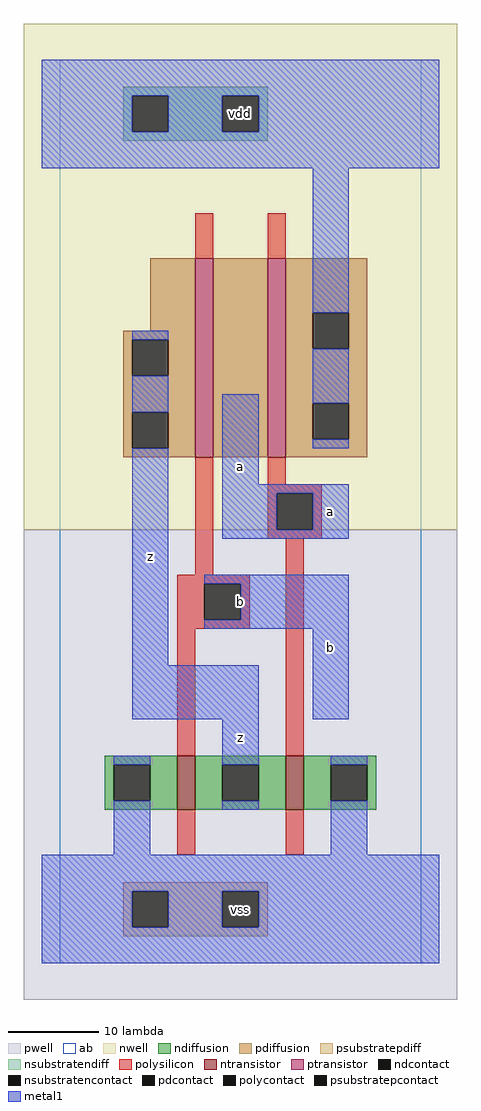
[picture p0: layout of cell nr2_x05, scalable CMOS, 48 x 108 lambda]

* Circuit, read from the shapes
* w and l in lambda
.subckt nr2_x05 a b vdd vss z
M1 z b vss vss nfet w=6 l=2
M2 vss a z vss nfet w=6 l=2
M3 n1 b z vdd pfet w=22 l=2
M4 vdd a n1 vdd pfet w=22 l=2
.ends

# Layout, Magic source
magic
tech scmos
<< ab >>
rect 0 0 40 100
<< pwell >>
rect -4 -4 44 48
<< nwell >>
rect -4 48 44 104
<< polysilicon >>
rect 15 78 17 83
rect 23 78 25 83
rect 15 43 17 56
rect 23 53 25 56
rect 23 52 29 53
rect 23 48 24 52
rect 28 48 29 52
rect 23 47 29 48
rect 13 42 21 43
rect 13 38 16 42
rect 20 38 21 42
rect 13 37 21 38
rect 13 23 15 37
rect 25 23 27 47
rect 13 12 15 17
rect 25 12 27 17
<< ndiffusion >>
rect 5 22 13 23
rect 5 18 6 22
rect 10 18 13 22
rect 5 17 13 18
rect 15 22 25 23
rect 15 18 18 22
rect 22 18 25 22
rect 15 17 25 18
rect 27 22 35 23
rect 27 18 30 22
rect 34 18 35 22
rect 27 17 35 18
<< pdiffusion >>
rect 10 70 15 78
rect 7 69 15 70
rect 7 65 8 69
rect 12 65 15 69
rect 7 61 15 65
rect 7 57 8 61
rect 12 57 15 61
rect 7 56 15 57
rect 17 56 23 78
rect 25 72 34 78
rect 25 68 28 72
rect 32 68 34 72
rect 25 62 34 68
rect 25 58 28 62
rect 32 58 34 62
rect 25 56 34 58
<< metal1 >>
rect -2 96 42 100
rect -2 92 8 96
rect 12 92 18 96
rect 22 92 42 96
rect -2 88 42 92
rect 28 72 32 88
rect 8 69 12 70
rect 8 61 12 65
rect 8 33 12 57
rect 18 53 22 63
rect 28 62 32 68
rect 28 57 32 58
rect 18 52 32 53
rect 18 48 24 52
rect 28 48 32 52
rect 18 47 32 48
rect 16 42 32 43
rect 20 38 32 42
rect 16 37 32 38
rect 8 27 22 33
rect 28 27 32 37
rect 6 22 10 23
rect 6 12 10 18
rect 18 22 22 27
rect 18 17 22 18
rect 30 22 34 23
rect 30 12 34 18
rect -2 8 42 12
rect -2 4 8 8
rect 12 4 18 8
rect 22 4 42 8
rect -2 0 42 4
<< ntransistor >>
rect 13 17 15 23
rect 25 17 27 23
<< ptransistor >>
rect 15 56 17 78
rect 23 56 25 78
<< polycontact >>
rect 24 48 28 52
rect 16 38 20 42
<< ndcontact >>
rect 6 18 10 22
rect 18 18 22 22
rect 30 18 34 22
<< pdcontact >>
rect 8 65 12 69
rect 8 57 12 61
rect 28 68 32 72
rect 28 58 32 62
<< psubstratepcontact >>
rect 8 4 12 8
rect 18 4 22 8
<< nsubstratencontact >>
rect 8 92 12 96
rect 18 92 22 96
<< psubstratepdiff >>
rect 7 8 23 9
rect 7 4 8 8
rect 12 4 18 8
rect 22 4 23 8
rect 7 3 23 4
<< nsubstratendiff >>
rect 7 96 23 97
rect 7 92 8 96
rect 12 92 18 96
rect 22 92 23 96
rect 7 91 23 92
<< labels >>
rlabel metal1 10 45 10 45 6 z
rlabel psubstratepcontact 20 6 20 6 6 vss
rlabel metal1 20 25 20 25 6 z
rlabel metal1 20 40 20 40 6 b
rlabel metal1 20 55 20 55 6 a
rlabel nsubstratencontact 20 94 20 94 6 vdd
rlabel metal1 30 35 30 35 6 b
rlabel metal1 30 50 30 50 6 a
<< end >>
